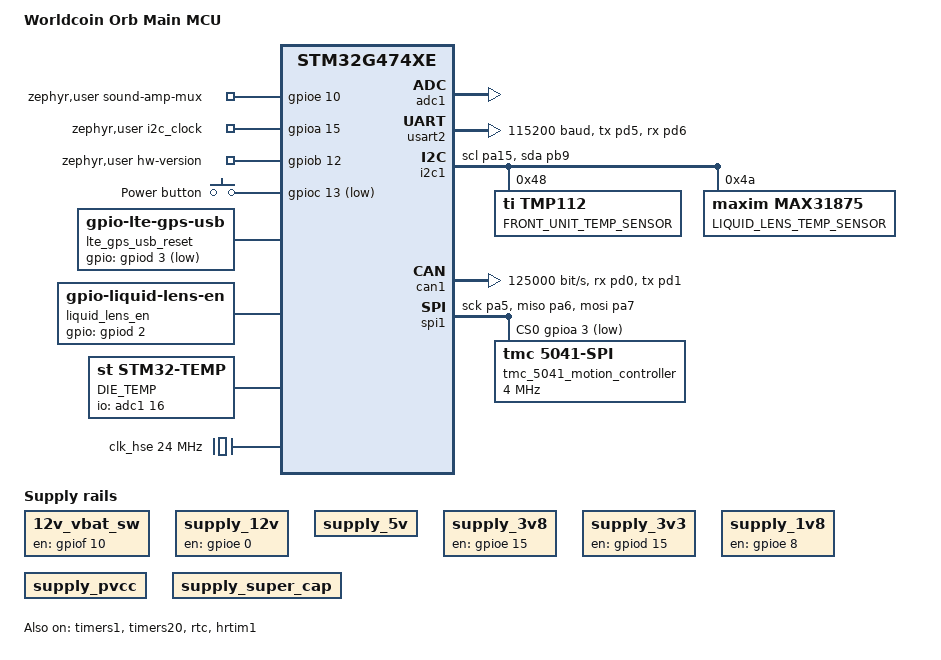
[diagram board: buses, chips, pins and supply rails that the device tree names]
/dts-v1/;
#include <st/g4/stm32g474Xe.dtsi>
#include <st/g4/stm32g474v(b-c-e)tx-pinctrl.dtsi>

/ {
    model = "Worldcoin Orb Main MCU";
    compatible = "worldcoin,mcu_main";

    chosen {
        zephyr,console = &usart2;
        zephyr,shell-uart = &usart2;
        zephyr,sram = &sram0;
        zephyr,flash = &flash0;
        zephyr,canbus = &can1;
    };

    zephyr,user {
        // This is a mux for who controls the audio amp
        // 1 == MCU
        // 0 == Jetson
        sound-amp-mux-gpios = <&gpioe 10 GPIO_ACTIVE_HIGH>;
        i2c_clock_gpios = <&gpioa 15 GPIO_ACTIVE_HIGH>;

        // GPIO used to get hardware version dynamically
        hw-version-gpios = <&gpiob 12 GPIO_ACTIVE_HIGH>;
    };

    vbat_sw {
        compatible = "regulator-fixed-sync", "regulator-fixed";
        label = "12V VBAT SW";
        regulator-name = "12v_vbat_sw";
        enable-gpios = <&gpiof 10 GPIO_ACTIVE_HIGH>;

        // This is attached to a MOSFET to allow the battery
        // power to be sent to the inputs of:
        // * 12v supply
        // * 5v supply
        // * Supercap charger
    };

    supply_12v {
        compatible = "regulator-fixed-sync", "regulator-fixed";
        label = "12V Supply";
        regulator-name = "supply_12v";
        enable-gpios = <&gpioe 0 GPIO_ACTIVE_HIGH>;
    };

    supply_5v {
        compatible = "regulator-fixed-sync", "regulator-fixed";
        label = "5V Supply";
        regulator-name = "supply_5v";
    };

    supply_3v8 {
        compatible = "regulator-fixed-sync", "regulator-fixed";
        label = "3.8V Supply";
        regulator-name = "supply_3v8";
        enable-gpios = <&gpioe 15 GPIO_ACTIVE_HIGH>;
    };

    supply_3v3 {
        compatible = "regulator-fixed-sync", "regulator-fixed";
        label = "3.3V Supply";
        regulator-name = "supply_3v3";
        enable-gpios = <&gpiod 15 GPIO_ACTIVE_HIGH>;
    };

    supply_1v8 {
        compatible = "regulator-fixed-sync", "regulator-fixed";
        label = "1.8V Supply";
        regulator-name = "supply_1v8";
        enable-gpios = <&gpioe 8 GPIO_ACTIVE_HIGH>;
    };

    supply_pvcc {
        compatible = "regulator-fixed-sync", "regulator-fixed";
        label = "PVCC Supply";
        regulator-name = "supply_pvcc";
    };

    supply_super_cap {
        compatible = "regulator-fixed-sync", "regulator-fixed";
        label = "Super cap supply";
        regulator-name = "supply_super_cap";
    };

    buttons {
        compatible = "gpio-keys";

        power_button {
            gpios = <&gpioc 13 GPIO_ACTIVE_LOW>;
            label = "Power button";
        };
    };

    jetson_power_pins {
        compatible = "gpio-jetson-power";

        power_enable {
            // output
            // this signals the Jetson module to turn on an off
        };

        system_reset {
            gpios = <&gpioe 11 GPIO_ACTIVE_LOW>;

            // bidirectional
            // drive low to reset
            // driven by Jetson to indicate power sequence is complete
        };

        module_sleep {
            gpios = <&gpiof 2 GPIO_ACTIVE_LOW>;

            // input
            // when driven low indicates that the module has gone to sleep
        };

        sleep_wake {
            // output
            // drive high to indicate that the Jetson should enter sleep mode
        };
    };

    lte_gps_usb_reset {
        compatible = "gpio-lte-gps-usb";
        gpios = <&gpiod 3 GPIO_ACTIVE_LOW>;
    };

    liquid_lens_en {
        compatible = "gpio-liquid-lens-en";
        gpios = <&gpiod 2 GPIO_ACTIVE_HIGH>;
    };

    hrtim1: hrtim1@40016800 {
        compatible = "st,stm32-hr-timers";
        reg = <0x40016800 0xc00>;
        clocks = <&rcc STM32_CLOCK_BUS_APB2 0x04000000>;
    };

    stm-tmp {
        label = "DIE_TEMP";
        compatible = "st,stm32-temp";
        io-channels = <&adc1 16>;
        status = "okay";
    };
};

&adc1 {
    status = "okay";
    pinctrl-0 = <>;
    pinctrl-names = "default";
};

// used by liquid_lens module
&adc3 {
    status = "disabled";
    pinctrl-0 = <&adc3_in10_pd13 &adc3_in11_pd14>;
    pinctrl-names = "default";
};

&hrtim1 {
    status = "okay";

    liquid_lens: liquid_lens {
        compatible = "worldcoin,stm32-pwm";
        pinctrl-0 = <&hrtim1_cha1_pa8 &hrtim1_cha2_pa9 &hrtim1_chb1_pa10 &hrtim1_chb2_pa11>;
        pinctrl-names = "default";
    };
};

&timers1 {
    status = "okay";

    operator_rgb_leds: operator_rgb_leds {
        compatible = "worldsemi,ws2812-pwm-stm32";
        label = "operator_rbg_leds";
        pinctrl-0 = <&tim1_ch1_pc0>;
        pinctrl-names = "default";
        timer-channel = <1>;
        timer-number = <1>;
        dma-channel = <1>;
        num-leds = <5>;
    };
};

&timers20 {
    status = "okay";

    front_unit_rgb_leds: front_unit_rgb_leds {
        compatible = "worldsemi,ws2812-pwm-stm32";
        label = "front_unit_rgb_leds";
        pinctrl-0 = <&tim20_ch2_pe3>;
        pinctrl-names = "default";
        timer-channel = <2>;
        timer-number = <20>;
        dma-channel = <2>;
        num-leds = <233>;
    };
};

// needed for ws2812 user & operator LEDs
&dma1 {
    status = "okay";
};

&dma2 {
    status = "okay";
};

// needed for ws2812 LEDs
&dmamux1 {
    status = "okay";
};

&clk_hse {
    clock-frequency = <DT_FREQ_M(24)>;
    status = "okay";
};

&pll {
    div-m = <6>;
    mul-n = <85>;
    div-p = <7>;
    div-q = <2>;
    div-r = <2>;
    clocks = <&clk_hse>;
    status = "okay";
};

&rcc {
    clocks = <&pll>;
    clock-frequency = <DT_FREQ_M(170)>;
    ahb-prescaler = <1>;
    apb1-prescaler = <1>;
    apb2-prescaler = <1>;
};

&usart2 {
    pinctrl-0 = <&usart2_tx_pd5 &usart2_rx_pd6>;
    pinctrl-names = "default";
    current-speed = <115200>;
    status = "okay";
};

&rtc {
    status = "okay";
};

&i2c1 {
    pinctrl-0 = <&i2c1_scl_pa15 &i2c1_sda_pb9>;
    pinctrl-names = "default";
    status = "okay";

    front_unit_tmp_sensor: tmp112@48 {
        compatible = "ti,tmp112";
        reg = <0x48>;
        label = "FRONT_UNIT_TEMP_SENSOR";
    };

    liquid_lens_tmp_sensor: maxim31875@4a {
        compatible = "maxim,max31875";
        reg = <0x4a>;
        label = "LIQUID_LENS_TEMP_SENSOR";
        conversions-per-second = "1";
        resolution = <8>;
    };
};

&can1 {
    pinctrl-0 = <&fdcan1_rx_pd0 &fdcan1_tx_pd1>;
    pinctrl-names = "default";

    /*
     * 1. Choose the highest available CAN clock frequency: PCLK1 is used
     * 2. Set the BRPA bit-rate prescaler equal BRPB: done within Zephyr
     * 3. Choose BRPA and BRPD as low as possible: done within Zephyr
     * 4. Configure all CAN FD nodes to have the same arbitration phase SP
     *    and the same data phase SP: 85,2%
     * 5. Chose sjwD and sjwA as large as possible: MIN(PS1,PS2). Configuration
     * on the Jetson allows for a maximum of 4. We use 4 to keep the
     * configuration homogeneous (same Tq on all nodes)
     * 6. Enable TDC for data bit-rates higher than 1 Mbit/s
     */
    bus-speed = <125000>;
    sjw = <4>;
    sample-point = <852>;
    bus-speed-data = <1000000>;
    sjw-data = <4>;
    sample-point-data = <853>; // closest value
    status = "okay";
};

&spi1 {
    pinctrl-0 = <&spi1_sck_pa5 &spi1_miso_pa6 &spi1_mosi_pa7>;
    pinctrl-names = "default";
    cs-gpios = <&gpioa 3 GPIO_ACTIVE_LOW>;
    status = "okay";

    motion_controller: motion_controller@0 {
        compatible = "tmc,5041-spi";
        label = "tmc_5041_motion_controller";
        reg = <0>;
        spi-max-frequency = <4000000>;
        status = "okay";
    };
};

&flash0 {
    /*
     * Base address: 0x8000000
     * For more information, see:
     * http://docs.zephyrproject.org/latest/guides/dts/index.html#flash-partitions
     */
    partitions {
        compatible = "fixed-partitions";
        #address-cells = <1>;
        #size-cells = <1>;

        /* 48KiB for bootloader */
        boot_partition: partition@0 {
            label = "mcuboot";
            reg = <0x00000000 0x0000C000>;
            read-only;
        };

        /* 224KiB per slot */
        // 0x800C000
        slot0_partition: partition@C000 {
            label = "image-0";
            reg = <0x0000C000 0x00038000>;
        };
        // 0x8044000
        slot1_partition: partition@44000 {
            label = "image-1";
            reg = <0x00044000 0x00038000>;
        };

        /* 8KiB scratch */
        scratch_partition: partition@7C000 {
            label = "image-scratch";
            reg = <0x0007C000 0x00002000>;
        };

        /* final 8KiB reserved for app storage partition */
        storage_partition: partition@7E000 {
            label = "storage";
            reg = <0x0007E000 0x00002000>;
        };
    };
};
